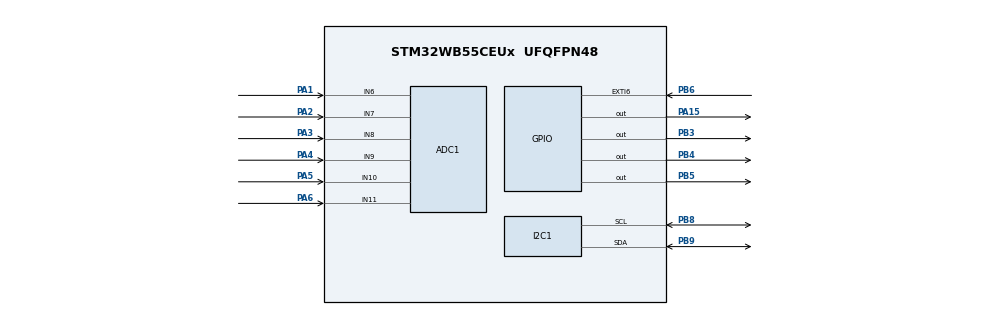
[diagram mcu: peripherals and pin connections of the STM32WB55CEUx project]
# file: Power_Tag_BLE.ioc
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ADC1.Channel-1\#ChannelRegularConversion=ADC_CHANNEL_6
ADC1.Channel-2\#ChannelRegularConversion=ADC_CHANNEL_7
ADC1.Channel-3\#ChannelRegularConversion=ADC_CHANNEL_8
ADC1.Channel-4\#ChannelRegularConversion=ADC_CHANNEL_9
ADC1.Channel-5\#ChannelRegularConversion=ADC_CHANNEL_10
ADC1.Channel-6\#ChannelRegularConversion=ADC_CHANNEL_11
ADC1.ClockPrescaler=ADC_CLOCK_ASYNC_DIV1
ADC1.ContinuousConvMode=DISABLE
ADC1.DMAContinuousRequests=DISABLE
ADC1.DiscontinuousConvMode=ENABLE
ADC1.EOCSelection=ADC_EOC_SINGLE_CONV
ADC1.EnableRegularConversion=ENABLE
ADC1.NbrOfConversion=6
ADC1.NbrOfConversionFlag=1
ADC1.NbrOfDiscConversion=6
ADC1.OffsetNumber-1\#ChannelRegularConversion=ADC_OFFSET_NONE
ADC1.OffsetNumber-2\#ChannelRegularConversion=ADC_OFFSET_NONE
ADC1.OffsetNumber-3\#ChannelRegularConversion=ADC_OFFSET_NONE
ADC1.OffsetNumber-4\#ChannelRegularConversion=ADC_OFFSET_NONE
ADC1.OffsetNumber-5\#ChannelRegularConversion=ADC_OFFSET_NONE
ADC1.OffsetNumber-6\#ChannelRegularConversion=ADC_OFFSET_NONE
ADC1.OversamplingMode=DISABLE
ADC1.Rank-1\#ChannelRegularConversion=1
ADC1.Rank-2\#ChannelRegularConversion=2
ADC1.Rank-3\#ChannelRegularConversion=3
ADC1.Rank-4\#ChannelRegularConversion=4
ADC1.Rank-5\#ChannelRegularConversion=5
ADC1.Rank-6\#ChannelRegularConversion=6
ADC1.SamplingTime-1\#ChannelRegularConversion=ADC_SAMPLETIME_92CYCLES_5
ADC1.SamplingTime-2\#ChannelRegularConversion=ADC_SAMPLETIME_92CYCLES_5
ADC1.SamplingTime-3\#ChannelRegularConversion=ADC_SAMPLETIME_92CYCLES_5
ADC1.SamplingTime-4\#ChannelRegularConversion=ADC_SAMPLETIME_92CYCLES_5
ADC1.SamplingTime-5\#ChannelRegularConversion=ADC_SAMPLETIME_92CYCLES_5
ADC1.SamplingTime-6\#ChannelRegularConversion=ADC_SAMPLETIME_92CYCLES_5
ADC1.master=1
I2C1.OwnAddress=0x0B
I2C1.Timing=0x00B07CB4
Mcu.Family=STM32WB
Mcu.Name=STM32WB55CEUx
Mcu.Package=UFQFPN48
NVIC.EXTI9_5_IRQn=true\:0\:0\:false\:false\:true\:true\:true\:true
NVIC.HSEM_IRQn=true\:0\:0\:false\:false\:true\:false\:true\:true
NVIC.I2C1_ER_IRQn=true\:0\:0\:false\:false\:true\:true\:true\:true
NVIC.I2C1_EV_IRQn=true\:0\:0\:false\:false\:true\:true\:true\:true
NVIC.IPCC_C1_RX_IRQn=true\:0\:0\:false\:false\:true\:true\:true\:true
NVIC.IPCC_C1_TX_IRQn=true\:0\:0\:false\:false\:true\:true\:true\:true
NVIC.PriorityGroup=NVIC_PRIORITYGROUP_4
NVIC.RTC_Alarm_IRQn=true\:0\:0\:false\:false\:true\:true\:true\:true
NVIC.TIM2_IRQn=true\:0\:0\:false\:false\:true\:true\:true\:true
OSC_IN.Mode=HSE-External-Oscillator
OSC_IN.Signal=RCC_OSC_IN
OSC_OUT.Mode=HSE-External-Oscillator
OSC_OUT.Signal=RCC_OSC_OUT
PA1.Signal=ADCx_IN6
PA13.Mode=Serial_Wire
PA13.Signal=SYS_JTMS-SWDIO
PA14.Mode=Serial_Wire
PA14.Signal=SYS_JTCK-SWCLK
PA15.Signal=GPIO_Output
PA2.Signal=ADCx_IN7
PA3.Signal=ADCx_IN8
PA4.Signal=ADCx_IN9
PA5.Signal=ADCx_IN10
PA6.Signal=ADCx_IN11
PB3.Signal=GPIO_Output
PB4.Signal=GPIO_Output
PB5.Signal=GPIO_Output
PB6.Signal=GPXTI6
PB8.Mode=I2C
PB8.Signal=I2C1_SCL
PB9.Mode=I2C
PB9.Signal=I2C1_SDA
PC14-OSC32_IN.Mode=LSE-External-Oscillator
PC14-OSC32_IN.Signal=RCC_OSC32_IN
PC15-OSC32_OUT.Mode=LSE-External-Oscillator
PC15-OSC32_OUT.Signal=RCC_OSC32_OUT
ProjectManager.HeapSize=0x200
ProjectManager.StackSize=0x400
ProjectManager.TargetToolchain=STM32CubeIDE
RCC.ADCFreq_Value=48000000
RCC.AHBFreq_Value=32000000
RCC.APB1Freq_Value=32000000
RCC.APB1TimFreq_Value=32000000
RCC.APB2Freq_Value=32000000
RCC.APB2TimFreq_Value=32000000
RCC.APB3Freq_Value=16000000
RCC.CortexFreq_Value=32000000
RCC.HCLKFreq_Value=32000000
RCC.HSE_VALUE=32000000
RCC.HSI48_VALUE=48000000
RCC.HSI_VALUE=16000000
RCC.MSIClockRange=RCC_MSIRANGE_10
RCC.PLLM=RCC_PLLM_DIV2
RCC.PLLSAI1N=6
RCC.SYSCLKFreq_VALUE=32000000
RCC.USBFreq_Value=48000000
RCC.VCOOutputFreq_Value=128000000
RF1.Mode=RF1_Activate
RF1.Signal=RF_RF1
RTC.Alarm-Alarm\ A=RTC_ALARM_A
RTC.HourFormat=RTC_HOURFORMAT_24
RTC.WakeUpClock-WakeUp=RTC_WAKEUPCLOCK_RTCCLK_DIV16
SH.ADCx_IN10.0=ADC1_IN10,IN10-Single-Ended
SH.ADCx_IN11.0=ADC1_IN11,IN11-Single-Ended
SH.ADCx_IN6.0=ADC1_IN6,IN6-Single-Ended
SH.ADCx_IN7.0=ADC1_IN7,IN7-Single-Ended
SH.ADCx_IN8.0=ADC1_IN8,IN8-Single-Ended
SH.ADCx_IN9.0=ADC1_IN9,IN9-Single-Ended
STM32_WPAN.AD_TYPE_COMPLETE_LOCAL_NAME=Power_Tag_BLE_V1
STM32_WPAN.AD_TYPE_COMPLETE_LOCAL_NAME_LENGTH=17
STM32_WPAN.AD_TYPE_MANUFACTURER_DATA_17=01
STM32_WPAN.AD_TYPE_MANUFACTURER_DATA_COMMENT_1=UID_1
STM32_WPAN.AD_TYPE_MANUFACTURER_DATA_COMMENT_10=NN
STM32_WPAN.AD_TYPE_MANUFACTURER_DATA_COMMENT_11=NN
STM32_WPAN.AD_TYPE_MANUFACTURER_DATA_COMMENT_12=NN
STM32_WPAN.AD_TYPE_MANUFACTURER_DATA_COMMENT_13=NN
STM32_WPAN.AD_TYPE_MANUFACTURER_DATA_COMMENT_14=NN
STM32_WPAN.AD_TYPE_MANUFACTURER_DATA_COMMENT_15=NN
STM32_WPAN.AD_TYPE_MANUFACTURER_DATA_COMMENT_16=NN
STM32_WPAN.AD_TYPE_MANUFACTURER_DATA_COMMENT_17=NN
STM32_WPAN.AD_TYPE_MANUFACTURER_DATA_COMMENT_2=UID_2
STM32_WPAN.AD_TYPE_MANUFACTURER_DATA_COMMENT_3=UID_3
STM32_WPAN.AD_TYPE_MANUFACTURER_DATA_COMMENT_4=NN
STM32_WPAN.AD_TYPE_MANUFACTURER_DATA_COMMENT_5=NN
STM32_WPAN.AD_TYPE_MANUFACTURER_DATA_COMMENT_6=NN
STM32_WPAN.AD_TYPE_MANUFACTURER_DATA_COMMENT_7=NN
STM32_WPAN.AD_TYPE_MANUFACTURER_DATA_COMMENT_8=NN
STM32_WPAN.AD_TYPE_MANUFACTURER_DATA_COMMENT_9=NN
STM32_WPAN.AD_TYPE_MANUFACTURER_DATA_NBR=2
STM32_WPAN.AD_TYPE_MANUFACTURER_SPECIFIC_DATA_COMPANY_IDENTIFIER=00,30
STM32_WPAN.AD_TYPE_SHORTENED_LOCAL_NAME=Power_Tag
STM32_WPAN.AD_TYPE_SHORTENED_LOCAL_NAME_LENGTH=10
STM32_WPAN.CFG_LSCLK_LSE=0
STM32_WPAN.CUSTOM_P2P_SERVER=Disabled
STM32_WPAN.CUSTOM_TEMPLATE=Enabled
STM32_WPAN.INCLUDE_AD_TYPE_COMPLETE_LOCAL_NAME=1
STM32_WPAN.INCLUDE_AD_TYPE_MANUFACTURER_SPECIFIC_DATA=1
STM32_WPAN.INCLUDE_AD_TYPE_SHORTENED_LOCAL_NAME=0
STM32_WPAN.NUMBER_OF_SERVICES=1
STM32_WPAN.SERVICE1_CHAR1_GATT_NOTIFY_ATTRIBUTE_WRITE=GATT_NOTIFY_ATTRIBUTE_WRITE
STM32_WPAN.SERVICE1_CHAR1_GATT_NOTIFY_READ_REQ_AND_WAIT_FOR_APPL_RESP=\ 
STM32_WPAN.SERVICE1_CHAR1_GATT_NOTIFY_WRITE_REQ_AND_WAIT_FOR_APPL_RESP=\ 
STM32_WPAN.SERVICE1_CHAR1_LENGTH_CHARACTERISTIC=CHAR_VALUE_LEN_VARIABLE
STM32_WPAN.SERVICE1_CHAR1_LONG_NAME=myCharWrite
STM32_WPAN.SERVICE1_CHAR1_PROP_WRITE=CHAR_PROP_WRITE
STM32_WPAN.SERVICE1_CHAR1_SHORT_NAME=myCharWrite
STM32_WPAN.SERVICE1_CHAR1_VALUE_LENGTH=247
STM32_WPAN.SERVICE1_CHAR2_GATT_NOTIFY_READ_REQ_AND_WAIT_FOR_APPL_RESP=\ 
STM32_WPAN.SERVICE1_CHAR2_GATT_NOTIFY_WRITE_REQ_AND_WAIT_FOR_APPL_RESP=\ 
STM32_WPAN.SERVICE1_CHAR2_LONG_NAME=myCharNotify
STM32_WPAN.SERVICE1_CHAR2_PROP_NOTIFY=CHAR_PROP_NOTIFY
STM32_WPAN.SERVICE1_CHAR2_SHORT_NAME=myCharNotify
STM32_WPAN.SERVICE1_CHAR2_UUID=00 01
STM32_WPAN.SERVICE1_CHAR2_VALUE_LENGTH=247
STM32_WPAN.SERVICE1_LONG_NAME=mySvc
STM32_WPAN.SERVICE1_NUMBER_OF_CHARACTERISTICS=2
STM32_WPAN.SERVICE1_SHORT_NAME=mySvc
TIM2.Period=1000
TIM2.Prescaler=32000-1
VP_HSEM_VS_HSEM.Mode=HSEM_Activate
VP_IPCC_VS_IPCC.Mode=IPCC_Activate
VP_MEMORYMAP_VS_MEMORYMAP.Mode=CurAppReg
VP_RTC_VS_RTC_Activate.Mode=RTC_Enabled
VP_RTC_VS_RTC_Alarm_A_Intern.Mode=Alarm A
VP_RTC_VS_RTC_Calendar.Mode=RTC_Calendar
VP_RTC_VS_RTC_WakeUp_intern.Mode=WakeUp
VP_SEQUENCER_VS_SEQUENCER.Mode=SEQUENCER_Enabled
VP_STM32_WPAN_VS_BLE_HOST.Mode=STM32_WPAN_Enabled
VP_TIM2_VS_ClockSourceINT.Mode=Internal
VP_TINY_LPM_VS_TINY_LPM.Mode=TINY_LPM_Enabled
board=custom

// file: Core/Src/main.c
/* USER CODE BEGIN Header */
/**
 ******************************************************************************
 * @file           : main.c
 * @brief          : Main program body
 ******************************************************************************
 * @attention
 *
 * Copyright (c) 2025 STMicroelectronics.
 * All rights reserved.
 *
 * This software is licensed under terms that can be found in the LICENSE file
 * in the root directory of this software component.
 * If no LICENSE file comes with this software, it is provided AS-IS.
 *
 ******************************************************************************
 */
/* USER CODE END Header */
#include "main.h"

/* USER CODE BEGIN Includes */
#include "app_ble.h"
#include "stm32wbxx_hal_ipcc.h"
#include "app_common.h"
#include "stm32wbxx_it.h"
#include "stm32_lpm.h"
#include "app_conf.h"

/* USER CODE END Includes */

/* USER CODE BEGIN PD */
#define BMS_I2C_ADDR 0x0B << 1
/* USER CODE END PD */

/* USER CODE BEGIN PM */
#define MAX_STRING_LEN 32
/* USER CODE END PM */

ADC_HandleTypeDef hadc1;

I2C_HandleTypeDef hi2c1;

IPCC_HandleTypeDef hipcc;

RTC_HandleTypeDef hrtc;

TIM_HandleTypeDef htim2;

/* USER CODE BEGIN PV */
volatile uint32_t count = 0;
volatile uint8_t sleep_flag = 0;
volatile uint16_t cell_mv[6];
volatile uint16_t cell_nominal_mv ;
volatile uint16_t cell_charged_mv ;
volatile uint16_t cell_discharged_mv ;
uint8_t display_active = 0;
volatile float cell_voltages[6];
volatile uint8_t charge_state; // 0- Idle, 1- charging, 2- discharging
volatile uint32_t last_voltages_base_addr = 0x08040000;
volatile uint32_t nominal_cell_mv_addr = 0x08041000;
volatile uint32_t charged_cell_mv_addr = 0x08042000;
volatile uint32_t discharged_cell_mv_addr = 0x08043000;
volatile uint32_t capacity_addr = 0x08044000;
volatile uint32_t C_rating_addr= 0x08045000;
volatile uint32_t type_addr = 0x08046000;
volatile uint32_t nickname_addr = 0x08047000;
uint32_t cycle_count_addr = 0x08048000;
uint32_t data_addr = 0x08049000;
float data;
float cycle_count;
uint8_t toggle_for_charge;
uint8_t toggle_for_discharge;
volatile uint16_t lowest_mv;
volatile uint16_t present_net_mv;
volatile uint16_t last_net_mv;
volatile uint8_t data_received;
volatile uint16_t capacity;
volatile uint8_t C_rating;
volatile uint8_t type; //0 - Li-ion. 1- Li-po, 2- Solid state
volatile uint8_t nickname[16];
uint8_t rx_byte;
uint8_t tx_buffer[2];
uint8_t current_command = 0;
uint16_t uid_word0;
float increment;
extern volatile uint8_t a_AdvData[24];

/* USER CODE END PV */

void SystemClock_Config(void);
void PeriphCommonClock_Config(void);
static void MX_GPIO_Init(void);
static void MX_ADC1_Init(void);
static void MX_I2C1_Init(void);
static void MX_IPCC_Init(void);
static void MX_RTC_Init(void);
static void MX_TIM2_Init(void);
static void MX_RF_Init(void);
/* USER CODE BEGIN PFP */
void Software_Reset(void);
void get_voltage(void);
void display(void);
void stop_display(void);
void EnterLowPowerStandby(void);
void PrepareVoltageData(void);
void RTC_Wakeup_After(uint32_t period_seconds);
void Flash_WriteString(uint32_t address, const char* str);
void Flash_ReadString(uint32_t address, char* buffer);
HAL_StatusTypeDef RTC_EnableWakeUpInterrupt(void);

uint8_t update_state(void);
uint16_t read_from_flash(uint32_t address);
HAL_StatusTypeDef write_to_flash(uint32_t address, uint32_t data);
uint32_t read_from_flash_32(uint32_t addr);
HAL_StatusTypeDef write_float_to_flash(uint32_t address, float data);
float read_float_from_flash(uint32_t address);
/* USER CODE END PFP */

int main(void)
{

  /* MCU Configuration--------------------------------------------------------*/

  /* Reset of all peripherals, Initializes the Flash interface and the Systick. */
  HAL_Init();
  /* Config code for STM32_WPAN (HSE Tuning must be done before system clock configuration) */
  MX_APPE_Config();

  /* Configure the system clock */
  SystemClock_Config();

  /* Configure the peripherals common clocks */
  PeriphCommonClock_Config();

  /* IPCC initialisation */
  MX_IPCC_Init();

  /* Initialize all configured peripherals */
  MX_GPIO_Init();
  MX_ADC1_Init();
  MX_I2C1_Init();
  MX_RTC_Init();
  MX_TIM2_Init();
  MX_RF_Init();
  /* USER CODE BEGIN 2 */
	__HAL_GPIO_EXTI_CLEAR_IT(GPIO_PIN_5);
	TIM16->SR = ~TIM_SR_UIF;  // Clear update interrupt flag
	TIM16->CNT = 0;
	last_net_mv = read_from_flash(last_voltages_base_addr);
	if(HAL_I2C_EnableListen_IT(&hi2c1) != HAL_OK)
	{
		Error_Handler();
	}

  /* USER CODE END 2 */

  /* Init code for STM32_WPAN */
  MX_APPE_Init();

  /* Infinite loop */
  /* USER CODE BEGIN WHILE */
	HAL_TIM_Base_Start_IT(&htim2);
	//get_voltage();
	//get_voltage();
	cell_nominal_mv = read_from_flash(nominal_cell_mv_addr);
	cell_charged_mv = read_from_flash(charged_cell_mv_addr);
	cell_discharged_mv = read_from_flash(discharged_cell_mv_addr);
	update_state();
	uid_word0 = HAL_GetUIDw2();

	capacity = read_from_flash(capacity_addr);

	while (1) {
		if (sleep_flag == 1) {
			stop_display();
			HAL_NVIC_DisableIRQ(TIM2_IRQn);  // Disable NVIC for TIM2
			TIM2->DIER &= ~TIM_DIER_UIE;
			//stop_display();
			HAL_GPIO_WritePin(GPIOA, GPIO_PIN_15, RESET);
			count = 0;//UTIL_LPM_SetStopMode(1 << CFG_LPM_APP, UTIL_LPM_ENABLE);
			get_voltage();
			write_to_flash(last_voltages_base_addr, present_net_mv);
			HAL_RTC_DeInit(&hrtc);
			MX_RTC_Init();
			RTC_Wakeup_After(5);
			HAL_SuspendTick();
			HAL_PWREx_EnterSTOP2Mode(PWR_STOPENTRY_WFI);
			SystemClock_Config();
			HAL_ResumeTick();
		} else {
			if (connection_status == 1) {
			} else {
					get_voltage();
					cell_nominal_mv = read_from_flash(nominal_cell_mv_addr);
					cell_charged_mv = read_from_flash(charged_cell_mv_addr);
					cell_discharged_mv = read_from_flash(discharged_cell_mv_addr);
					//update_state();
					display();
			}
		}

    /* USER CODE END WHILE */
    MX_APPE_Process();

	}
}

void SystemClock_Config(void)
{
  RCC_OscInitTypeDef RCC_OscInitStruct = {0};
  RCC_ClkInitTypeDef RCC_ClkInitStruct = {0};

  /** Macro to configure the PLL multiplication factor
  */
  __HAL_RCC_PLL_PLLM_CONFIG(RCC_PLLM_DIV2);

  /** Macro to configure the PLL clock source
  */
  __HAL_RCC_PLL_PLLSOURCE_CONFIG(RCC_PLLSOURCE_MSI);

  /** Configure the main internal regulator output voltage
  */
  __HAL_PWR_VOLTAGESCALING_CONFIG(PWR_REGULATOR_VOLTAGE_SCALE1);

  /** Initializes the RCC Oscillators according to the specified parameters
  * in the RCC_OscInitTypeDef structure.
  */
  RCC_OscInitStruct.OscillatorType = RCC_OSCILLATORTYPE_HSI|RCC_OSCILLATORTYPE_LSI1
                              |RCC_OSCILLATORTYPE_HSE|RCC_OSCILLATORTYPE_MSI;
  RCC_OscInitStruct.HSEState = RCC_HSE_ON;
  RCC_OscInitStruct.HSIState = RCC_HSI_ON;
  RCC_OscInitStruct.MSIState = RCC_MSI_ON;
  RCC_OscInitStruct.HSICalibrationValue = RCC_HSICALIBRATION_DEFAULT;
  RCC_OscInitStruct.MSICalibrationValue = RCC_MSICALIBRATION_DEFAULT;
  RCC_OscInitStruct.MSIClockRange = RCC_MSIRANGE_10;
  RCC_OscInitStruct.LSIState = RCC_LSI_ON;
  RCC_OscInitStruct.PLL.PLLState = RCC_PLL_NONE;
  if (HAL_RCC_OscConfig(&RCC_OscInitStruct) != HAL_OK)
  {
    Error_Handler();
  }

  /** Configure the SYSCLKSource, HCLK, PCLK1 and PCLK2 clocks dividers
  */
  RCC_ClkInitStruct.ClockType = RCC_CLOCKTYPE_HCLK4|RCC_CLOCKTYPE_HCLK2
                              |RCC_CLOCKTYPE_HCLK|RCC_CLOCKTYPE_SYSCLK
                              |RCC_CLOCKTYPE_PCLK1|RCC_CLOCKTYPE_PCLK2;
  RCC_ClkInitStruct.SYSCLKSource = RCC_SYSCLKSOURCE_MSI;
  RCC_ClkInitStruct.AHBCLKDivider = RCC_SYSCLK_DIV1;
  RCC_ClkInitStruct.APB1CLKDivider = RCC_HCLK_DIV1;
  RCC_ClkInitStruct.APB2CLKDivider = RCC_HCLK_DIV1;
  RCC_ClkInitStruct.AHBCLK2Divider = RCC_SYSCLK_DIV1;
  RCC_ClkInitStruct.AHBCLK4Divider = RCC_SYSCLK_DIV1;

  if (HAL_RCC_ClockConfig(&RCC_ClkInitStruct, FLASH_LATENCY_1) != HAL_OK)
  {
    Error_Handler();
  }
}

void PeriphCommonClock_Config(void)
{
  RCC_PeriphCLKInitTypeDef PeriphClkInitStruct = {0};

  /** Initializes the peripherals clock
  */
  PeriphClkInitStruct.PeriphClockSelection = RCC_PERIPHCLK_SMPS|RCC_PERIPHCLK_RFWAKEUP;
  PeriphClkInitStruct.RFWakeUpClockSelection = RCC_RFWKPCLKSOURCE_HSE_DIV1024;
  PeriphClkInitStruct.SmpsClockSelection = RCC_SMPSCLKSOURCE_HSI;
  PeriphClkInitStruct.SmpsDivSelection = RCC_SMPSCLKDIV_RANGE1;

  if (HAL_RCCEx_PeriphCLKConfig(&PeriphClkInitStruct) != HAL_OK)
  {
    Error_Handler();
  }
}

static void MX_ADC1_Init(void)
{

  ADC_ChannelConfTypeDef sConfig = {0};

  /** Common config
  */
  hadc1.Instance = ADC1;
  hadc1.Init.ClockPrescaler = ADC_CLOCK_ASYNC_DIV1;
  hadc1.Init.Resolution = ADC_RESOLUTION_12B;
  hadc1.Init.DataAlign = ADC_DATAALIGN_RIGHT;
  hadc1.Init.ScanConvMode = ADC_SCAN_ENABLE;
  hadc1.Init.EOCSelection = ADC_EOC_SINGLE_CONV;
  hadc1.Init.LowPowerAutoWait = DISABLE;
  hadc1.Init.ContinuousConvMode = DISABLE;
  hadc1.Init.NbrOfConversion = 6;
  hadc1.Init.DiscontinuousConvMode = ENABLE;
  hadc1.Init.NbrOfDiscConversion = 6;
  hadc1.Init.ExternalTrigConv = ADC_SOFTWARE_START;
  hadc1.Init.ExternalTrigConvEdge = ADC_EXTERNALTRIGCONVEDGE_NONE;
  hadc1.Init.DMAContinuousRequests = DISABLE;
  hadc1.Init.Overrun = ADC_OVR_DATA_PRESERVED;
  hadc1.Init.OversamplingMode = DISABLE;
  if (HAL_ADC_Init(&hadc1) != HAL_OK)
  {
    Error_Handler();
  }

  /** Configure Regular Channel
  */
  sConfig.Channel = ADC_CHANNEL_6;
  sConfig.Rank = ADC_REGULAR_RANK_1;
  sConfig.SamplingTime = ADC_SAMPLETIME_92CYCLES_5;
  sConfig.SingleDiff = ADC_SINGLE_ENDED;
  sConfig.OffsetNumber = ADC_OFFSET_NONE;
  sConfig.Offset = 0;
  if (HAL_ADC_ConfigChannel(&hadc1, &sConfig) != HAL_OK)
  {
    Error_Handler();
  }

  /** Configure Regular Channel
  */
  sConfig.Channel = ADC_CHANNEL_7;
  sConfig.Rank = ADC_REGULAR_RANK_2;
  if (HAL_ADC_ConfigChannel(&hadc1, &sConfig) != HAL_OK)
  {
    Error_Handler();
  }

  /** Configure Regular Channel
  */
  sConfig.Channel = ADC_CHANNEL_8;
  sConfig.Rank = ADC_REGULAR_RANK_3;
  if (HAL_ADC_ConfigChannel(&hadc1, &sConfig) != HAL_OK)
  {
    Error_Handler();
  }

  /** Configure Regular Channel
  */
  sConfig.Channel = ADC_CHANNEL_9;
  sConfig.Rank = ADC_REGULAR_RANK_4;
  if (HAL_ADC_ConfigChannel(&hadc1, &sConfig) != HAL_OK)
  {
    Error_Handler();
  }

  /** Configure Regular Channel
  */
  sConfig.Channel = ADC_CHANNEL_10;
  sConfig.Rank = ADC_REGULAR_RANK_5;
  if (HAL_ADC_ConfigChannel(&hadc1, &sConfig) != HAL_OK)
  {
    Error_Handler();
  }

  /** Configure Regular Channel
  */
  sConfig.Channel = ADC_CHANNEL_11;
  sConfig.Rank = ADC_REGULAR_RANK_6;
  if (HAL_ADC_ConfigChannel(&hadc1, &sConfig) != HAL_OK)
  {
    Error_Handler();
  }

}

static void MX_I2C1_Init(void)
{

  hi2c1.Instance = I2C1;
  hi2c1.Init.Timing = 0x00B07CB4;
  hi2c1.Init.OwnAddress1 = 22;
  hi2c1.Init.AddressingMode = I2C_ADDRESSINGMODE_7BIT;
  hi2c1.Init.DualAddressMode = I2C_DUALADDRESS_DISABLE;
  hi2c1.Init.OwnAddress2 = 0;
  hi2c1.Init.OwnAddress2Masks = I2C_OA2_NOMASK;
  hi2c1.Init.GeneralCallMode = I2C_GENERALCALL_DISABLE;
  hi2c1.Init.NoStretchMode = I2C_NOSTRETCH_DISABLE;
  if (HAL_I2C_Init(&hi2c1) != HAL_OK)
  {
    Error_Handler();
  }

  /** Configure Analogue filter
  */
  if (HAL_I2CEx_ConfigAnalogFilter(&hi2c1, I2C_ANALOGFILTER_ENABLE) != HAL_OK)
  {
    Error_Handler();
  }

  /** Configure Digital filter
  */
  if (HAL_I2CEx_ConfigDigitalFilter(&hi2c1, 0) != HAL_OK)
  {
    Error_Handler();
  }

}

static void MX_IPCC_Init(void)
{

  hipcc.Instance = IPCC;
  if (HAL_IPCC_Init(&hipcc) != HAL_OK)
  {
    Error_Handler();
  }

}

static void MX_RF_Init(void)
{

}

static void MX_RTC_Init(void)
{

  RTC_TimeTypeDef sTime = {0};
  RTC_DateTypeDef sDate = {0};
  RTC_AlarmTypeDef sAlarm = {0};

  /** Initialize RTC Only
  */
  hrtc.Instance = RTC;
  hrtc.Init.HourFormat = RTC_HOURFORMAT_24;
  hrtc.Init.AsynchPrediv = 127;
  hrtc.Init.SynchPrediv = 255;
  hrtc.Init.OutPut = RTC_OUTPUT_DISABLE;
  hrtc.Init.OutPutPolarity = RTC_OUTPUT_POLARITY_HIGH;
  hrtc.Init.OutPutType = RTC_OUTPUT_TYPE_OPENDRAIN;
  hrtc.Init.OutPutRemap = RTC_OUTPUT_REMAP_NONE;
  if (HAL_RTC_Init(&hrtc) != HAL_OK)
  {
    Error_Handler();
  }

  /** Initialize RTC and set the Time and Date
  */
  sTime.Hours = 0x0;
  sTime.Minutes = 0x0;
  sTime.Seconds = 0x0;
  sTime.SubSeconds = 0x0;
  sTime.DayLightSaving = RTC_DAYLIGHTSAVING_NONE;
  sTime.StoreOperation = RTC_STOREOPERATION_RESET;
  if (HAL_RTC_SetTime(&hrtc, &sTime, RTC_FORMAT_BCD) != HAL_OK)
  {
    Error_Handler();
  }
  sDate.WeekDay = RTC_WEEKDAY_MONDAY;
  sDate.Month = RTC_MONTH_JANUARY;
  sDate.Date = 0x1;
  sDate.Year = 0x0;
  if (HAL_RTC_SetDate(&hrtc, &sDate, RTC_FORMAT_BCD) != HAL_OK)
  {
    Error_Handler();
  }

  /** Enable the Alarm A
  */
  sAlarm.AlarmTime.Hours = 0x0;
  sAlarm.AlarmTime.Minutes = 0x0;
  sAlarm.AlarmTime.Seconds = 0x0;
  sAlarm.AlarmTime.SubSeconds = 0x0;
  sAlarm.AlarmTime.DayLightSaving = RTC_DAYLIGHTSAVING_NONE;
  sAlarm.AlarmTime.StoreOperation = RTC_STOREOPERATION_RESET;
  sAlarm.AlarmMask = RTC_ALARMMASK_NONE;
  sAlarm.AlarmSubSecondMask = RTC_ALARMSUBSECONDMASK_ALL;
  sAlarm.AlarmDateWeekDaySel = RTC_ALARMDATEWEEKDAYSEL_DATE;
  sAlarm.AlarmDateWeekDay = 0x1;
  sAlarm.Alarm = RTC_ALARM_A;
  if (HAL_RTC_SetAlarm_IT(&hrtc, &sAlarm, RTC_FORMAT_BCD) != HAL_OK)
  {
    Error_Handler();
  }

  /** Enable the WakeUp
  */
  if (HAL_RTCEx_SetWakeUpTimer(&hrtc, 0, RTC_WAKEUPCLOCK_RTCCLK_DIV16) != HAL_OK)
  {
    Error_Handler();
  }

}

static void MX_TIM2_Init(void)
{

  TIM_ClockConfigTypeDef sClockSourceConfig = {0};
  TIM_MasterConfigTypeDef sMasterConfig = {0};

  htim2.Instance = TIM2;
  htim2.Init.Prescaler = 32000-1;
  htim2.Init.CounterMode = TIM_COUNTERMODE_UP;
  htim2.Init.Period = 1000;
  htim2.Init.ClockDivision = TIM_CLOCKDIVISION_DIV1;
  htim2.Init.AutoReloadPreload = TIM_AUTORELOAD_PRELOAD_DISABLE;
  if (HAL_TIM_Base_Init(&htim2) != HAL_OK)
  {
    Error_Handler();
  }
  sClockSourceConfig.ClockSource = TIM_CLOCKSOURCE_INTERNAL;
  if (HAL_TIM_ConfigClockSource(&htim2, &sClockSourceConfig) != HAL_OK)
  {
    Error_Handler();
  }
  sMasterConfig.MasterOutputTrigger = TIM_TRGO_RESET;
  sMasterConfig.MasterSlaveMode = TIM_MASTERSLAVEMODE_DISABLE;
  if (HAL_TIMEx_MasterConfigSynchronization(&htim2, &sMasterConfig) != HAL_OK)
  {
    Error_Handler();
  }

}

static void MX_GPIO_Init(void)
{
  GPIO_InitTypeDef GPIO_InitStruct = {0};

  /* GPIO Ports Clock Enable */
  __HAL_RCC_GPIOC_CLK_ENABLE();
  __HAL_RCC_GPIOB_CLK_ENABLE();
  __HAL_RCC_GPIOA_CLK_ENABLE();

  /*Configure GPIO pin Output Level */
  HAL_GPIO_WritePin(GPIOA, GPIO_PIN_15, GPIO_PIN_RESET);

  /*Configure GPIO pin Output Level */
  HAL_GPIO_WritePin(GPIOB, GPIO_PIN_3|GPIO_PIN_4|GPIO_PIN_5, GPIO_PIN_RESET);

  /*Configure GPIO pin : PA15 */
  GPIO_InitStruct.Pin = GPIO_PIN_15;
  GPIO_InitStruct.Mode = GPIO_MODE_OUTPUT_PP;
  GPIO_InitStruct.Pull = GPIO_NOPULL;
  GPIO_InitStruct.Speed = GPIO_SPEED_FREQ_LOW;
  HAL_GPIO_Init(GPIOA, &GPIO_InitStruct);

  /*Configure GPIO pins : PB3 PB4 PB5 */
  GPIO_InitStruct.Pin = GPIO_PIN_3|GPIO_PIN_4|GPIO_PIN_5;
  GPIO_InitStruct.Mode = GPIO_MODE_OUTPUT_PP;
  GPIO_InitStruct.Pull = GPIO_NOPULL;
  GPIO_InitStruct.Speed = GPIO_SPEED_FREQ_LOW;
  HAL_GPIO_Init(GPIOB, &GPIO_InitStruct);

  /*Configure GPIO pin : PB6 */
  GPIO_InitStruct.Pin = GPIO_PIN_6;
  GPIO_InitStruct.Mode = GPIO_MODE_IT_RISING;
  GPIO_InitStruct.Pull = GPIO_NOPULL;
  HAL_GPIO_Init(GPIOB, &GPIO_InitStruct);

  /* EXTI interrupt init*/
  HAL_NVIC_SetPriority(EXTI9_5_IRQn, 0, 0);
  HAL_NVIC_EnableIRQ(EXTI9_5_IRQn);

}

/* USER CODE BEGIN 4 */

HAL_StatusTypeDef write_to_flash(uint32_t address, uint32_t data) {
	HAL_StatusTypeDef status;

	// Validate address: must be within flash range and 8-byte aligned for double-word write
	if (address < FLASH_BASE || address >= (FLASH_BASE + FLASH_SIZE)
			|| (address % 8 != 0)) {
		return HAL_ERROR;
	}

	// Unlock flash
	status = HAL_FLASH_Unlock();
	if (status != HAL_OK) {
		return status;
	}

	// Erase the page containing the address
	FLASH_EraseInitTypeDef erase_init = { .TypeErase = FLASH_TYPEERASE_PAGES,
			.Page = (address - FLASH_BASE) / FLASH_PAGE_SIZE, // Calculate page number
			.NbPages = 1 };
	uint32_t page_error;
	status = HAL_FLASHEx_Erase(&erase_init, &page_error);
	if (status != HAL_OK || page_error != 0xFFFFFFFF) {
		HAL_FLASH_Lock(); // Lock before returning on error
		return HAL_ERROR;
	}

	// Clear pending error flags
	__HAL_FLASH_CLEAR_FLAG(FLASH_FLAG_ALL_ERRORS);

	// Prepare 64-bit data for double-word programming
	uint64_t data_to_write = (uint64_t) data;

	// Program the flash
	status = HAL_FLASH_Program(FLASH_TYPEPROGRAM_DOUBLEWORD, address,
			data_to_write);
	if (status != HAL_OK) {
		HAL_FLASH_Lock(); // Lock before returning on error
		return status;
	}

	// Lock flash
	status = HAL_FLASH_Lock();
	if (status != HAL_OK) {
		return status;
	}

	return HAL_OK;
}

HAL_StatusTypeDef write_float_to_flash(uint32_t address, float data)
{
    HAL_StatusTypeDef status;

    /* ------------------------------------------------------------------ */
    /* 1. Address validation – must be inside flash and 8-byte aligned   */
    /* ------------------------------------------------------------------ */
    if (address < FLASH_BASE ||
        address >= (FLASH_BASE + FLASH_SIZE) ||
        (address % 8) != 0)                     /* double-word alignment */
    {
        return HAL_ERROR;
    }

    /* ------------------------------------------------------------------ */
    /* 2. Unlock flash                                                   */
    /* ------------------------------------------------------------------ */
    status = HAL_FLASH_Unlock();
    if (status != HAL_OK) return status;

    /* ------------------------------------------------------------------ */
    /* 3. Erase the page that contains the address                       */
    /* ------------------------------------------------------------------ */
    FLASH_EraseInitTypeDef erase = {
        .TypeErase = FLASH_TYPEERASE_PAGES,
        .Page      = (address - FLASH_BASE) / FLASH_PAGE_SIZE,
        .NbPages   = 1
    };
    uint32_t page_error = 0;
    status = HAL_FLASHEx_Erase(&erase, &page_error);
    if (status != HAL_OK || page_error != 0xFFFFFFFFU)
    {
        HAL_FLASH_Lock();
        return HAL_ERROR;
    }

    /* ------------------------------------------------------------------ */
    /* 4. Clear any pending error flags                                   */
    /* ------------------------------------------------------------------ */
    __HAL_FLASH_CLEAR_FLAG(FLASH_FLAG_ALL_ERRORS);

    /* ------------------------------------------------------------------ */
    /* 5. Pack the 32-bit float into a 64-bit double-word                */
    /* ------------------------------------------------------------------ */
    uint32_t  float_as_u32 = *((uint32_t *)&data);   /* bit-wise copy */
    uint64_t  dw_to_write  = ((uint64_t)float_as_u32) | ((uint64_t)0xFFFFFFFFULL << 32);
    /*   low  32 bits : the float
         high 32 bits : padding (0xFFFFFFFF) – erased state of flash */

    /* ------------------------------------------------------------------ */
    /* 6. Program the double-word                                         */
    /* ------------------------------------------------------------------ */
    status = HAL_FLASH_Program(FLASH_TYPEPROGRAM_DOUBLEWORD,
                               address,
                               dw_to_write);
    if (status != HAL_OK)
    {
        HAL_FLASH_Lock();
        return status;
    }

    /* ------------------------------------------------------------------ */
    /* 7. Lock flash again                                                */
    /* ------------------------------------------------------------------ */
    status = HAL_FLASH_Lock();
    return (status == HAL_OK) ? HAL_OK : status;
}

float read_float_from_flash(uint32_t address) {
    uint32_t word = *((__IO uint32_t*)address);   // Read 32-bit word
    return *((float*)&word);                      // Reinterpret as float
}

uint16_t read_from_flash(uint32_t address) {
    // Validate address
    if (address < FLASH_BASE ||
        address >= (FLASH_BASE + FLASH_SIZE) ||
        (address % 2 != 0)) {
        return 0xFFFF;  // or some error code
    }

    // Return the 16-bit value directly
    return *(uint16_t*)address;
}

uint32_t read_from_flash_32(uint32_t addr)
{
    /* Safety checks ----------------------------------------------------------*/
    if (addr < FLASH_BASE) {
        /* Address is not in Flash */
        return 0xFFFFFFFFU;
    }
    if ((addr & 0x03U) != 0U) {
        /* Not 4-byte aligned -> HardFault if accessed directly */
        return 0xFFFFFFFFU;
    }

    /* Direct volatile read – the compiler will not optimise it away */
    return *(volatile uint32_t *)addr;
}

void PrepareVoltageData(void) {
	// Convert cell voltages to bytes (big endian)
	for (int i = 0; i < 6; i++) {
		tx_buffer[2 * i] = (cell_mv[i] >> 8) & 0xFF;
		tx_buffer[2 * i + 1] = cell_mv[i] & 0xFF;
	}
}

void Software_Reset(void) {
	// Write the reset request to AIRCR
	SCB->AIRCR = (0x5FA << SCB_AIRCR_VECTKEY_Pos)   // Key to allow write
	| SCB_AIRCR_SYSRESETREQ_Msk;       // Request system reset

	// Wait for the reset to occur
	while (1)
		;
}

void get_voltage(void) {
	uint8_t ret = HAL_ADCEx_Calibration_Start(&hadc1, ADC_SINGLE_ENDED);
	if (ret != HAL_OK) {
		Error_Handler();
	}
int startup = 0;
for(int i =0; i <= 5; i++)
{
	if(cell_voltages[i] == 0)
	{
		startup = 1;
		break;
	}else
	{
		startup = 0;
	}

	}

	HAL_ADC_Start(&hadc1);
	HAL_ADC_PollForConversion(&hadc1, 100);
	if(startup){
	cell_voltages[0] = HAL_ADC_GetValue(&hadc1);
	}else
	{
		cell_voltages[0] = (0.95*cell_voltages[0] + (0.05*HAL_ADC_GetValue(&hadc1)));
	}
	HAL_ADC_Stop(&hadc1);

	HAL_ADC_Start(&hadc1);
	HAL_ADC_PollForConversion(&hadc1, 100);
	if(startup){
		cell_voltages[1] = HAL_ADC_GetValue(&hadc1);
		}else
		{
			cell_voltages[1] = (0.95*cell_voltages[1] + (0.05*HAL_ADC_GetValue(&hadc1)));
		}
	HAL_ADC_Stop(&hadc1);

	HAL_ADC_Start(&hadc1);
	HAL_ADC_PollForConversion(&hadc1, 100);
	if(startup){
		cell_voltages[2] = HAL_ADC_GetValue(&hadc1);
		}else
		{
			cell_voltages[2] = (0.95*cell_voltages[2] + (0.05*HAL_ADC_GetValue(&hadc1)));
		}
	HAL_ADC_Stop(&hadc1);

	HAL_ADC_Start(&hadc1);
	HAL_ADC_PollForConversion(&hadc1, 100);
	if(startup){
		cell_voltages[3] = HAL_ADC_GetValue(&hadc1);
		}else
		{
			cell_voltages[3] = (0.95*cell_voltages[3] + (0.05*HAL_ADC_GetValue(&hadc1)));
		}
	HAL_ADC_Stop(&hadc1);

	HAL_ADC_Start(&hadc1);
	HAL_ADC_PollForConversion(&hadc1, 100);
	if(startup){
		cell_voltages[4] = HAL_ADC_GetValue(&hadc1);
		}else
		{
			cell_voltages[4] = (0.95*cell_voltages[4] + (0.05*HAL_ADC_GetValue(&hadc1)));
		}
	HAL_ADC_Stop(&hadc1);

	HAL_ADC_Start(&hadc1);
	HAL_ADC_PollForConversion(&hadc1, 100);
	if(startup){
		cell_voltages[5] = HAL_ADC_GetValue(&hadc1);
		}else
		{
			cell_voltages[5] = (0.95*cell_voltages[5] + (0.05*HAL_ADC_GetValue(&hadc1)));
		}
	HAL_ADC_Stop(&hadc1);

	for (int i = 0; i <= 5; i++) {
		cell_mv[i] = (cell_voltages[i] / 4095) * 2 * 2500;
	}

	present_net_mv = cell_mv[0] + cell_mv[1] + cell_mv[2] + cell_mv[3] + cell_mv[4] + cell_mv[5];

}

void display(void) {

		if (present_net_mv > cell_nominal_mv*6 && present_net_mv < (cell_charged_mv*6 - 120)) {
			HAL_GPIO_WritePin(GPIOB, GPIO_PIN_5, SET);
			HAL_GPIO_WritePin(GPIOB, GPIO_PIN_4, SET);
			HAL_GPIO_WritePin(GPIOB, GPIO_PIN_3, RESET);

		} else if (present_net_mv < cell_nominal_mv*6
				&& present_net_mv > cell_discharged_mv*6) {
			HAL_GPIO_WritePin(GPIOB, GPIO_PIN_5, SET);
			HAL_GPIO_WritePin(GPIOB, GPIO_PIN_4, RESET);
			HAL_GPIO_WritePin(GPIOB, GPIO_PIN_3, SET);
		} else if (present_net_mv < cell_discharged_mv*6) {
			HAL_GPIO_WritePin(GPIOB, GPIO_PIN_5, RESET);
			HAL_GPIO_WritePin(GPIOB, GPIO_PIN_4, RESET);
			HAL_GPIO_WritePin(GPIOB, GPIO_PIN_3, SET);
		} else if (present_net_mv == cell_charged_mv*6 || present_net_mv > (cell_charged_mv*6 - 120))
		{
			HAL_GPIO_WritePin(GPIOB, GPIO_PIN_5, RESET);
			HAL_GPIO_WritePin(GPIOB, GPIO_PIN_4, SET);
			HAL_GPIO_WritePin(GPIOB, GPIO_PIN_3, RESET);
		}
	}

void stop_display(void) {
	HAL_GPIO_WritePin(GPIOB, GPIO_PIN_5, RESET);
	HAL_GPIO_WritePin(GPIOB, GPIO_PIN_4, RESET);
	HAL_GPIO_WritePin(GPIOB, GPIO_PIN_3, RESET);
}

uint8_t update_state(void) {
	last_net_mv = read_from_flash(last_voltages_base_addr);
	cycle_count = read_float_from_flash(cycle_count_addr);
	get_voltage();
	if (present_net_mv > last_net_mv + 15) { //charging
		charge_state = 2;

	} else if (present_net_mv + 10< last_net_mv) { //discharging
		charge_state = 1;

	} else { //Idle
		charge_state = 0;

	}

	if(charge_state == 2)
	{
		float difference = present_net_mv - last_net_mv;
		float range = 6*(cell_charged_mv - cell_discharged_mv);
		increment = difference/range;
		cycle_count = cycle_count + increment;
		write_float_to_flash(cycle_count_addr,cycle_count);
	}
	return charge_state;
}

void prepare_data() {
    uint16_t value = 0;
    switch (current_command) {
    		case 0x09:  // Total Voltage (sum of cells)
              value = present_net_mv;
              break;
            case 0x1C:
              value = uid_word0;
              break;
            case 0x10:
            	value = capacity;
              break;
        case 0x3F: value = cell_mv[0]; break;  // Cell 1
        case 0x3E: value = cell_mv[1]; break;  // Cell 2
        case 0x3D: value = cell_mv[2]; break;  // Cell 3
        case 0x3C: value = cell_mv[3]; break;  // Cell 4
        case 0x3B: value = cell_mv[4]; break;  // Cell 5
        case 0x3A: value = cell_mv[5]; break;  // Cell 6

    }
    tx_buffer[0] = value & 0xFF;  // Low byte
    tx_buffer[1] = (value >> 8) & 0xFF;  // High byte
}

void HAL_I2C_AddrCallback(I2C_HandleTypeDef *hi2c, uint8_t TransferDirection, uint16_t AddrMatchCode) {
    //UNUSED(AddrMatchCode);

    if (TransferDirection == I2C_DIRECTION_TRANSMIT) {
        HAL_I2C_Slave_Sequential_Receive_IT(hi2c, &rx_byte, 1, I2C_FIRST_FRAME);
        current_command = rx_byte;
    } else {
        prepare_data();
        HAL_I2C_Slave_Sequential_Transmit_IT(hi2c, tx_buffer, 2, I2C_FIRST_AND_LAST_FRAME);
    }
}

// I2C Slave Receive Complete
void HAL_I2C_SlaveRxCpltCallback(I2C_HandleTypeDef *hi2c) {
    current_command = rx_byte;
    count = 0;
    HAL_I2C_EnableListen_IT(hi2c);
}

// I2C Slave Transmit Complete
void HAL_I2C_SlaveTxCpltCallback(I2C_HandleTypeDef *hi2c) {
    HAL_I2C_EnableListen_IT(hi2c);
}

// I2C Error Callback
void HAL_I2C_ErrorCallback(I2C_HandleTypeDef *hi2c) {
    HAL_I2C_EnableListen_IT(hi2c);
}

void HAL_I2C_ListenCpltCallback(I2C_HandleTypeDef *hi2c)
{
	HAL_I2C_EnableListen_IT(hi2c);
}

void HAL_TIM_PeriodElapsedCallback(TIM_HandleTypeDef *htim) {
	if (htim->Instance == TIM2) {

		if (connection_status == 1) {
			HAL_GPIO_WritePin(GPIOA, GPIO_PIN_15, SET);
			count = 0;
		} else {
			HAL_GPIO_TogglePin(GPIOA, GPIO_PIN_15);
			count++;
		}
		if (count >= 10) {
			stop_display();
			sleep_flag = 1;
		}
	}
}

void Flash_WriteString(uint32_t address, const char* str) {
    uint64_t data;
    uint32_t i;

    if (strlen(str) > MAX_STRING_LEN) return;

    /* Erase flash page */
    FLASH_EraseInitTypeDef eraseInit = {FLASH_TYPEERASE_PAGES, (address - FLASH_BASE) / 0x1000, 1};
    uint32_t pageError;
    HAL_FLASH_Unlock();
    HAL_FLASHEx_Erase(&eraseInit, &pageError);

    /* Write string */
    for (i = 0; i < strlen(str) + 1; i += 8) {
        memset(&data, 0xFF, sizeof(data));
        memcpy(&data, &str[i], (i + 8 <= strlen(str) + 1) ? 8 : strlen(str) + 1 - i);
        HAL_FLASH_Program(FLASH_TYPEPROGRAM_DOUBLEWORD, address + i, data);
    }
    HAL_FLASH_Lock();
}

/* Read string from flash at specified address */
void Flash_ReadString(uint32_t address, char* buffer) {
    uint32_t i;
    for (i = 0; i < MAX_STRING_LEN - 1; i++) {
        buffer[i] = *(volatile uint8_t*)(address + i);
        if (buffer[i] == '\0') break;
    }
    buffer[i] = '\0';
}

void HAL_GPIO_EXTI_Callback(uint16_t GPIO_Pin) {
	if (GPIO_Pin == GPIO_PIN_6) {
		HAL_ResumeTick();       // Resume SysTick interrupt
		SystemClock_Config();
		Software_Reset();
	}
}

void Enter_Low_Power(void) {
  // Suspend SysTick to prevent 1ms wakeups
  HAL_SuspendTick();
  // Pause BLE tasks (if using WPAN)
  // Ensure RTC wakeup interrupt is enabled
  Enable_RTC_Wakeup_Interrupt();
  // Enter Stop2
  HAL_PWREx_EnterSTOP2Mode(PWR_STOPENTRY_WFI);  // Use no-argument version for your HAL
  // On wakeup: Restore clocks
  SystemClock_Config();
  HAL_ResumeTick();
}

void Enable_RTC_Wakeup_Interrupt(void) {
  // Enable EXTI line 19 for RTC wakeup
  SET_BIT(EXTI->IMR1, EXTI_IMR1_IM19);  // Interrupt mask
  SET_BIT(EXTI->RTSR1, EXTI_RTSR1_RT19);  // Rising trigger
  // Enable NVIC
  NVIC_SetPriority(RTC_WKUP_IRQn, 0);
  NVIC_EnableIRQ(RTC_WKUP_IRQn);
}

void RTC_Wakeup_After(uint32_t min)
{
    RTC_AlarmTypeDef sAlarm = {0};
    RTC_TimeTypeDef sTime = {0};
    RTC_DateTypeDef sDate = {0};

    // Get current time and date
    HAL_RTC_GetTime(&hrtc, &sTime, RTC_FORMAT_BIN);
    HAL_RTC_GetDate(&hrtc, &sDate, RTC_FORMAT_BIN);

    // Calculate new seconds and minutes with overflow handling
    uint32_t total_seconds = sTime.Seconds;
    sAlarm.AlarmTime.Seconds = total_seconds % 60;
    uint32_t total_minutes = sTime.Minutes + min;
    sAlarm.AlarmTime.Minutes = total_minutes % 60;
    uint32_t total_hours = sTime.Hours + (total_minutes / 60);
    sAlarm.AlarmTime.Hours = total_hours % 24;

    sAlarm.AlarmTime.TimeFormat = RTC_HOURFORMAT12_AM;
    sAlarm.AlarmTime.DayLightSaving = RTC_DAYLIGHTSAVING_NONE;
    sAlarm.AlarmTime.StoreOperation = RTC_STOREOPERATION_RESET;
    sAlarm.AlarmMask = RTC_ALARMMASK_DATEWEEKDAY;
    sAlarm.AlarmDateWeekDaySel = RTC_ALARMDATEWEEKDAYSEL_DATE;
    sAlarm.AlarmDateWeekDay = sDate.Date;
    sAlarm.Alarm = RTC_ALARM_A;

    // Set the alarm with interrupt
    HAL_RTC_SetAlarm_IT(&hrtc, &sAlarm, RTC_FORMAT_BIN);

    // Enter Stop Mode and wait for wakeup
}

void HAL_RTC_AlarmAEventCallback(RTC_HandleTypeDef *hrtc)
{
   Software_Reset();// Wakeup event handler
}

HAL_StatusTypeDef RTC_EnableWakeUpInterrupt(void)
{
    // Disable RTC write protection
    __HAL_RTC_WRITEPROTECTION_DISABLE(&hrtc);

    // Disable the wake-up timer to configure it safely
    __HAL_RTC_WAKEUPTIMER_DISABLE(&hrtc);

    // Clear any pending wake-up timer flag in RTC
    __HAL_RTC_WAKEUPTIMER_CLEAR_FLAG(&hrtc, RTC_FLAG_WUTF);

    // Clear any pending wake-up timer flag in EXTI
    __HAL_RTC_WAKEUPTIMER_EXTI_CLEAR_FLAG();

    // Enable EXTI line for RTC wake-up timer (EXTI line 20)
    LL_EXTI_EnableRisingTrig_0_31(RTC_EXTI_LINE_WAKEUPTIMER_EVENT);
    LL_EXTI_EnableIT_0_31(RTC_EXTI_LINE_WAKEUPTIMER_EVENT);

    // Enable the wake-up timer interrupt in RTC
    __HAL_RTC_WAKEUPTIMER_ENABLE_IT(&hrtc, RTC_IT_WUT);

    // Optional: Re-enable the wake-up timer if needed
    // __HAL_RTC_WAKEUPTIMER_ENABLE(&hrtc);

    // Enable RTC write protection
    __HAL_RTC_WRITEPROTECTION_ENABLE(&hrtc);

    // Configure NVIC for RTC wake-up interrupt
    HAL_NVIC_SetPriority(RTC_WKUP_IRQn, 0, 0); // Set priority (adjust as needed)
    HAL_NVIC_EnableIRQ(RTC_WKUP_IRQn);         // Enable NVIC interrupt
    HAL_NVIC_ClearPendingIRQ(RTC_WKUP_IRQn);   // Clear any pending interrupt

    return HAL_OK;
}

/* USER CODE END 4 */

void Error_Handler(void)
{
	__disable_irq();
	while (1) {
	}
}
